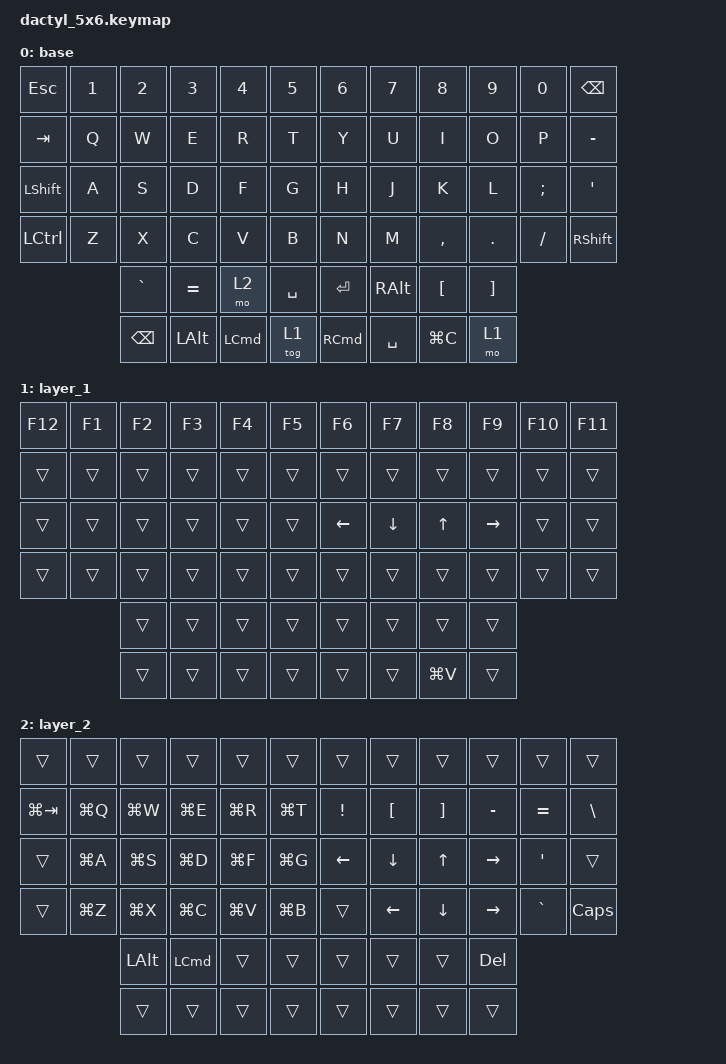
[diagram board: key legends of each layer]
#include <behaviors.dtsi>
#include <dt-bindings/zmk/keys.h>

// dt-formatter: indent = "  "
// dt-formatter: multilineIntegerCellsIndent = "reindent"
// dt-formatter: multilineListCommaStyle = "leading"

&sk { /delete-property/ ignore-modifiers; };

/ {
  conditional_layers { compatible = "zmk,conditional-layers"; };

  keymap {
    compatible = "zmk,keymap";

    base {
      bindings = <
        &kp ESC           &kp N1  &kp N2         &kp N3        &kp N4            &kp N5     &kp N6             &kp N7         &kp N8            &kp N9             &kp N0    &kp BSPC
        &kp TAB           &kp Q   &kp W          &kp E         &kp R             &kp T      &kp Y              &kp U          &kp I             &kp O              &kp P     &kp MINUS
        &kp LEFT_SHIFT    &kp A   &kp S          &kp D         &kp F             &kp G      &kp H              &kp J          &kp K             &kp L              &kp SEMI  &kp SQT
        &kp LEFT_CONTROL  &kp Z   &kp X          &kp C         &kp V             &kp B      &kp N              &kp M          &kp COMMA         &kp DOT            &kp FSLH  &kp RIGHT_SHIFT
                                  &kp GRAVE      &kp EQUAL     &mo 2             &kp SPACE  &kp RET            &kp RIGHT_ALT  &kp LEFT_BRACKET  &kp RIGHT_BRACKET
                                  &kp BACKSPACE  &kp LEFT_ALT  &kp LEFT_COMMAND  &tog 1     &kp RIGHT_COMMAND  &kp SPACE      &kp LG(C)         &mo 1
      >;
    };

    layer_1 {
      bindings = <
        &kp F12  &kp F1  &kp F2  &kp F3  &kp F4  &kp F5  &kp F6    &kp F7    &kp F8     &kp F9           &kp F10  &kp F11
        &trans   &trans  &trans  &trans  &trans  &trans  &trans    &trans    &trans     &trans           &trans   &trans
        &trans   &trans  &trans  &trans  &trans  &trans  &kp LEFT  &kp DOWN  &kp UP     &kp RIGHT_ARROW  &trans   &trans
        &trans   &trans  &trans  &trans  &trans  &trans  &trans    &trans    &trans     &trans           &trans   &trans
                         &trans  &trans  &trans  &trans  &trans    &trans    &trans     &trans
                         &trans  &trans  &trans  &trans  &trans    &trans    &kp LG(V)  &trans
      >;
    };

    layer_2 {
      bindings = <
        &trans       &trans     &trans        &trans            &trans     &trans     &trans           &trans            &trans             &trans           &trans            &trans
        &kp LG(TAB)  &kp LG(Q)  &kp LG(W)     &kp LG(E)         &kp LG(R)  &kp LG(T)  &kp EXCLAMATION  &kp LEFT_BRACKET  &kp RIGHT_BRACKET  &kp MINUS        &kp EQUAL         &kp BACKSLASH
        &trans       &kp LG(A)  &kp LG(S)     &kp LG(D)         &kp LG(F)  &kp LG(G)  &kp LEFT_ARROW   &kp DOWN_ARROW    &kp UP_ARROW       &kp RIGHT_ARROW  &kp SINGLE_QUOTE  &trans
        &trans       &kp LG(Z)  &kp LG(X)     &kp LG(C)         &kp LG(V)  &kp LG(B)  &trans           &kp LEFT_ARROW    &kp DOWN_ARROW     &kp RIGHT_ARROW  &kp GRAVE         &kp CAPS
                                &kp LEFT_ALT  &kp LEFT_COMMAND  &trans     &trans     &trans           &trans            &trans             &kp DEL
                                &trans        &trans            &trans     &trans     &trans           &trans            &trans             &trans
      >;
    };
  };
};
